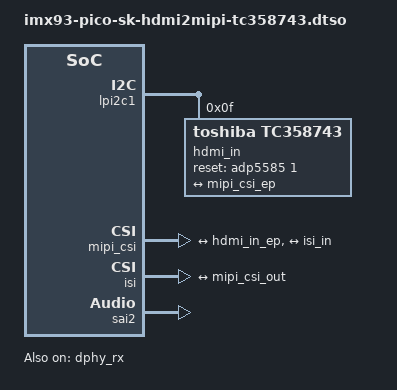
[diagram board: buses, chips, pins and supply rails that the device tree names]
// SPDX-License-Identifier: (GPL-2.0 OR MIT)
/*
 * Copyright 2020 TechNexion Ltd.
 *
 * Author: Richard Hu <richard.hu@technexion.com>
 *         Ray Chang <ray.chang@technexion.com>
 *         Jimmy Yi <jimmy.yi@technexion.com>
 *
 */

/******************************************************************************

USAGE NOTES:

This overlay is to enable a VizionLink HDMI board connected into the CAMERA
slot of the SK-PICO-CARRIER baseboard.

It enables the TC358743 device and logically connects it into the MIPI-CSI of
the i.MX93 SOC.

This overlay can be included by configuring the 'dtoverlay' in u-boot to
include "hdmi2mipi-tc358743":

setenv dtoverlay ${dtoverlay} hdmi2mipi-tc358743
saveenv

*****************************************************************************/

/dts-v1/;
/plugin/;

#include <dt-bindings/interrupt-controller/irq.h>
#include <dt-bindings/clock/imx93-clock.h>
#include <dt-bindings/gpio/gpio.h>

&lpi2c1 {
	#address-cells = <1>;
	#size-cells = <0>;
	status = "okay";

	hdmi_in: tc358743@f {
		compatible = "toshiba,tc358743";
		reg = <0x0f>;
		reset-gpios = <&adp5585 1 GPIO_ACTIVE_HIGH>;
		status = "okay";

		port {
			hdmi_in_ep: endpoint {
				remote-endpoint = <&mipi_csi_ep>;
				data-lanes = <1 2>;
				clock-lanes = <0>;
				clock-noncontinuous;
				link-frequencies = /bits/ 64 <297000000>;
			};
		};
	};
};

&dphy_rx {
	status = "okay";
};

&mipi_csi {
	status = "okay";

	ports {
		#address-cells = <1>;
		#size-cells = <0>;

		port@0 {
			reg = <0>;
			mipi_csi_ep: endpoint {
				remote-endpoint = <&hdmi_in_ep>;
				data-lanes = <1 2>;
				clock-lanes = <0>;
			};
		};

		port@1 {
			reg = <1>;
			mipi_csi_out: endpoint {
				remote-endpoint = <&isi_in>;
			};
		};
	};
};

&isi {
	status = "okay";

	port {
		isi_in: endpoint {
			remote-endpoint = <&mipi_csi_out>;
		};
	};
};

&sai2 {
	status = "okay";
};

&{/} {
	sound-tc358743 {
		compatible = "nxp,imx-audio-tc358743", "nxp,imx-tc358743";
		cpu-dai = <&sai2>;
		nxp,audio-codec = <&hdmi_in>;
		status = "okay";
	};
};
